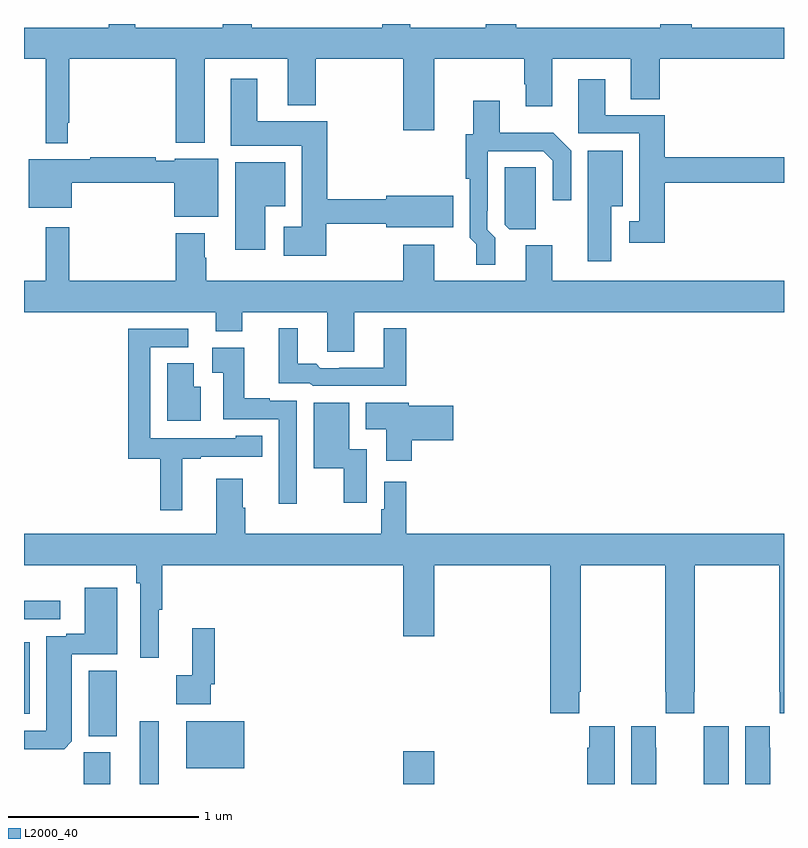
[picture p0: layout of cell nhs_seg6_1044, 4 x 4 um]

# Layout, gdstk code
import gdstk
lib = gdstk.Library(unit=1e-6, precision=1e-09)
def R(c, l, rs):  # rectangles x0, y0, x1, y1
    for r in rs: c.add(gdstk.rectangle(r[:2], r[2:], *l))
def P(c, l, *ps):  # polygons
    for p in ps: c.add(gdstk.Polygon(p, *l))
L2000_40 = (2000, 40)

nhs_seg6_1044 = lib.new_cell('nhs_seg6_1044')
R(nhs_seg6_1044, L2000_40, [(175.315,963.5,175.453,963.666), (175.61,963.5,175.708,963.829), (176.996,963.5,177.16,963.673), (175.853,963.584,176.158,963.829), (175.34,963.751,175.488,964.097), (175,963.87,175.03,964.246), (175,964.368,175.192,964.464)])
P(nhs_seg6_1044, L2000_40, [(175.23,966.979),(175.237,966.979),(175.237,967.316),(175.799,967.316),(175.799,966.875),(175.951,966.875),(175.951,967.316),(176.387,967.316),(176.387,967.073),(176.535,967.073),(176.535,967.316),(176.996,967.316),(176.996,966.942),(177.16,966.942),(177.16,967.316),(177.634,967.316),(177.634,967.183),(177.641,967.183),(177.641,967.068),(177.781,967.068),(177.781,967.316),(178.193,967.316),(178.193,967.105),(178.346,967.105),(178.346,967.316),(179,967.316),(179,967.48),(178.514,967.48),(178.514,967.5),(178.349,967.5),(178.349,967.48),(177.59,967.48),(177.59,967.5),(177.43,967.5),(177.43,967.48),(177.033,967.48),(177.033,967.5),(176.885,967.5),(176.885,967.48),(176.198,967.48),(176.198,967.5),(176.045,967.5),(176.045,967.48),(175.585,967.48),(175.585,967.5),(175.445,967.5),(175.445,967.48),(175,967.48),(175,967.316),(175.115,967.316),(175.115,966.872),(175.23,966.872)],
  [(176.592,966.45),(176.906,966.45),(176.906,966.431),(177.259,966.431),(177.259,966.597),(176.906,966.597),(176.906,966.578),(176.597,966.578),(176.597,966.988),(176.227,966.988),(176.227,967.213),(176.087,967.213),(176.087,966.86),(176.462,966.86),(176.462,966.433),(176.367,966.433),(176.367,966.281),(176.592,966.281)],
  [(178.373,966.664),(179,966.664),(179,966.8),(178.373,966.8),(178.373,967.02),(178.06,967.02),(178.06,967.21),(177.917,967.21),(177.917,966.924),(178.238,966.924),(178.238,966.461),(178.185,966.461),(178.185,966.348),(178.373,966.348)],
  [(177.481,966.374),(177.438,966.417),(177.438,966.517),(177.441,966.517),(177.441,966.831),(177.732,966.831),(177.783,966.78),(177.783,966.573),(177.879,966.573),(177.879,966.834),(177.785,966.928),(177.505,966.928),(177.505,967.096),(177.365,967.096),(177.365,966.921),(177.325,966.921),(177.325,966.685),(177.345,966.685),(177.345,966.374),(177.379,966.341),(177.379,966.234),(177.481,966.234)],
  [(178.09,966.542),(178.15,966.542),(178.15,966.832),(177.968,966.832),(177.968,966.252),(178.09,966.252)],
  [(176.023,966.79),(175.794,966.79),(175.794,966.78),(175.694,966.78),(175.694,966.8),(175.348,966.8),(175.348,966.787),(175.025,966.787),(175.025,966.533),(175.252,966.533),(175.252,966.664),(175.79,966.664),(175.79,966.485),(176.023,966.485)],
  [(176.269,966.542),(176.374,966.542),(176.374,966.772),(176.111,966.772),(176.111,966.312),(176.269,966.312)],
  [(177.694,966.635),(177.693,966.635),(177.693,966.746),(177.531,966.746),(177.531,966.444),(177.555,966.421),(177.694,966.421)],
  [(176.737,965.984),(179,965.984),(179,966.148),(177.781,966.148),(177.781,966.336),(177.641,966.336),(177.641,966.148),(177.16,966.148),(177.16,966.337),(176.996,966.337),(176.996,966.148),(175.959,966.148),(175.959,966.269),(175.951,966.269),(175.951,966.4),(175.799,966.4),(175.799,966.148),(175.237,966.148),(175.237,966.43),(175.115,966.43),(175.115,966.148),(175,966.148),(175,965.984),(176.009,965.984),(176.009,965.882),(176.149,965.882),(176.149,965.984),(176.597,965.984),(176.597,965.776),(176.737,965.776)],
  [(177.011,965.899),(176.894,965.899),(176.894,965.691),(176.659,965.691),(176.659,965.688),(176.559,965.688),(176.537,965.711),(176.44,965.711),(176.44,965.899),(176.342,965.899),(176.342,965.61),(176.505,965.61),(176.52,965.595),(177.011,965.595)],
  [(175.834,965.211),(175.93,965.211),(175.93,965.223),(176.255,965.223),(176.255,965.332),(176.115,965.332),(176.115,965.319),(175.665,965.319),(175.665,965.799),(175.864,965.799),(175.864,965.895),(175.549,965.895),(175.549,965.211),(175.717,965.211),(175.717,964.941),(175.834,964.941)],
  [(176.436,965.517),(176.294,965.517),(176.294,965.53),(176.158,965.53),(176.158,965.797),(175.992,965.797),(175.992,965.665),(176.048,965.665),(176.048,965.421),(176.34,965.421),(176.34,964.974),(176.436,964.974)],
  [(175.93,965.59),(175.894,965.59),(175.894,965.714),(175.754,965.714),(175.754,965.411),(175.93,965.411)],
  [(177.041,965.309),(177.259,965.309),(177.259,965.492),(177.024,965.492),(177.024,965.506),(176.798,965.506),(176.798,965.366),(176.906,965.366),(176.906,965.202),(177.041,965.202)],
  [(176.805,965.263),(176.713,965.263),(176.713,965.506),(176.525,965.506),(176.525,965.162),(176.684,965.162),(176.684,964.98),(176.805,964.98)],
  [(177.923,963.985),(177.93,963.985),(177.93,964.652),(178.375,964.652),(178.375,963.985),(178.377,963.985),(178.377,963.873),(178.527,963.873),(178.527,963.985),(178.53,963.985),(178.53,964.652),(178.975,964.652),(178.975,963.985),(178.977,963.985),(178.977,963.873),(179,963.873),(179,964.816),(177.011,964.816),(177.011,965.092),(176.895,965.092),(176.895,964.946),(176.879,964.946),(176.879,964.816),(176.165,964.816),(176.165,964.953),(176.152,964.953),(176.152,965.107),(176.012,965.107),(176.012,964.816),(175,964.816),(175,964.652),(175.591,964.652),(175.591,964.556),(175.611,964.556),(175.611,964.164),(175.709,964.164),(175.709,964.416),(175.727,964.416),(175.727,964.652),(176.996,964.652),(176.996,964.278),(177.16,964.278),(177.16,964.652),(177.77,964.652),(177.77,963.873),(177.923,963.873)],
  [(175.252,963.724),(175.252,964.182),(175.492,964.182),(175.492,964.534),(175.319,964.534),(175.319,964.291),(175.223,964.291),(175.223,964.278),(175.118,964.278),(175.118,963.78),(175,963.78),(175,963.683),(175.211,963.683)],
  [(175.983,964.024),(176.003,964.024),(176.003,964.321),(175.886,964.321),(175.886,964.073),(175.8,964.073),(175.8,963.92),(175.983,963.92)],
  [(178.708,963.805),(178.578,963.805),(178.578,963.692),(178.577,963.692),(178.577,963.5),(178.708,963.5)],
  [(178.108,963.805),(177.974,963.805),(177.974,963.692),(177.965,963.692),(177.965,963.5),(178.108,963.5)],
  [(178.327,963.692),(178.326,963.692),(178.326,963.805),(178.196,963.805),(178.196,963.5),(178.327,963.5)],
  [(178.927,963.692),(178.926,963.692),(178.926,963.805),(178.796,963.805),(178.796,963.5),(178.927,963.5)])

lib.write_gds('nhs_seg6_1044.gds')
